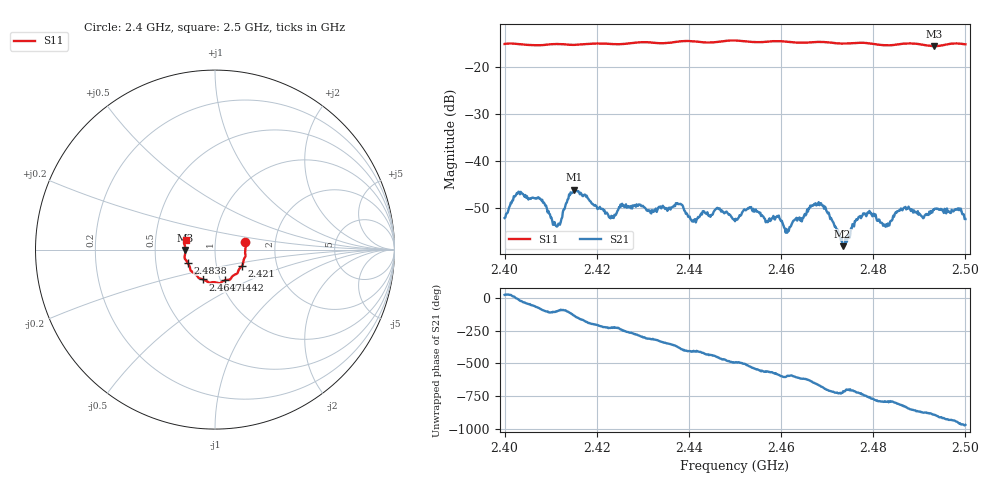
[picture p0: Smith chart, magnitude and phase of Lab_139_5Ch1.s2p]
# Hz S RI R 50
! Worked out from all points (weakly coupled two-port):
!   601 points, 2.4 GHz to 2.5 GHz, reference 50 ohm
!   highest |S21| = -46.12 dB at 2.4152 GHz (marker M1); lowest = -58.1 dB at 2.4733 GHz (marker M2)
!   lowest |S11| = -15.7 dB at 2.4932 GHz (marker M3), VSWR 1.39, Z = 35.8 - j0.12 ohm
!   |S11| at or under -10 dB: start of sweep to end of sweep
!   S12 and S22 are empty: the file has one direction only
!   S11 on the Smith chart (normalised r, x): 2.4 GHz: 1.40, +0.12; 2.421 GHz: 1.33, -0.24; 2.4442 GHz: 1.05, -0.37; 2.4647 GHz: 0.83, -0.28; 2.4838 GHz: 0.73, -0.11; 2.5 GHz: 0.71, +0.08
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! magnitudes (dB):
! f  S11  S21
! 2.4 GHz  -15.2  -52.2
! 2.4035 GHz  -15.3  -46.6
! 2.4077 GHz  -15.5  -48.0
! 2.4115 GHz  -15.2  -53.9
! 2.4152 GHz  -15.4  -46.1
! 2.4167 GHz  -15.3  -47.0
! 2.421 GHz  -15.1  -50.2
! 2.4333 GHz  -15.0  -50.0
! 2.4442 GHz  -14.9  -51.5
! 2.45 GHz  -14.5  -52.8
! 2.4532 GHz  -14.7  -49.9
! 2.4612 GHz  -14.7  -54.5
! 2.4647 GHz  -14.9  -52.2
! 2.4667 GHz  -14.8  -49.5
! 2.4692 GHz  -14.8  -49.5
! 2.4733 GHz  -15.1  -58.1
! 2.4783 GHz  -15.0  -51.5
! 2.4833 GHz  -15.5  -53.8
! 2.4838 GHz  -15.5  -52.8
! 2.4865 GHz  -15.1  -50.2
! 2.4932 GHz  -15.7  -50.4
! 2.5 GHz  -15.3  -52.4
